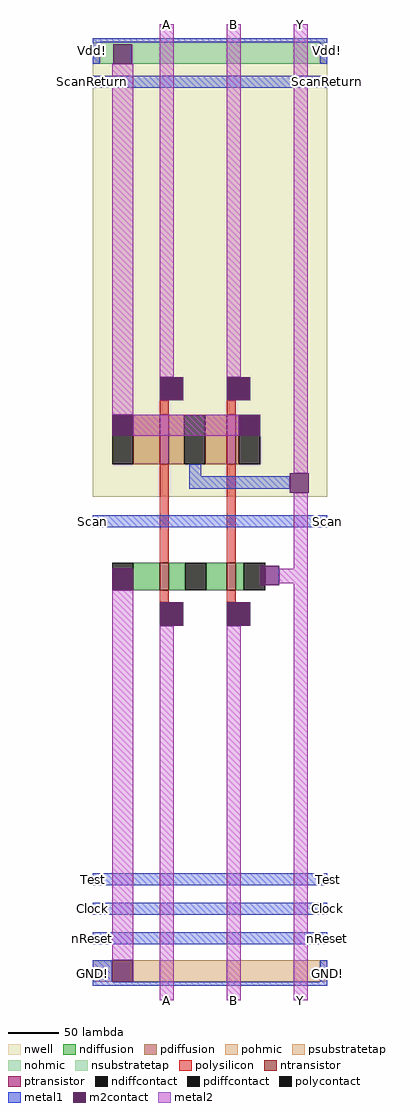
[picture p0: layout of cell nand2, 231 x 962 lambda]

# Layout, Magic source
magic
tech tsmc180
<< nwell >>
rect 0 496 231 948
<< polysilicon >>
rect 66 577 75 591
rect 132 577 141 591
rect 66 431 75 528
rect 132 431 141 528
rect 66 392 75 404
rect 132 392 141 404
<< ndiffusion >>
rect 40 404 66 431
rect 75 404 91 431
rect 112 404 132 431
rect 141 404 149 431
<< pdiffusion >>
rect 40 528 66 577
rect 75 528 90 577
rect 111 528 132 577
rect 141 528 144 577
<< pohmic >>
rect 0 18 19 39
rect 224 18 231 39
<< nohmic >>
rect 0 923 7 944
rect 224 923 231 944
<< ntransistor >>
rect 66 404 75 431
rect 132 404 141 431
<< ptransistor >>
rect 66 528 75 577
rect 132 528 141 577
<< polycontact >>
rect 66 591 89 614
rect 132 591 155 614
rect 66 369 89 392
rect 132 369 155 392
<< ndiffcontact >>
rect 19 404 40 431
rect 91 404 112 431
rect 149 404 170 431
<< pdiffcontact >>
rect 19 528 40 577
rect 90 528 111 577
rect 144 528 165 577
<< psubstratetap >>
rect 19 18 224 39
<< nsubstratetap >>
rect 7 923 224 944
<< metal1 >>
rect 0 944 231 948
rect 0 923 7 944
rect 224 923 231 944
rect 0 899 231 911
rect 95 516 107 528
rect 95 504 194 516
rect 0 466 231 478
rect 0 113 231 125
rect 0 84 231 96
rect 0 55 231 67
rect 0 18 19 39
rect 224 18 231 39
rect 0 14 231 18
<< m2contact >>
rect 20 923 39 942
rect 66 591 89 614
rect 132 591 155 614
rect 19 556 40 577
rect 144 556 165 577
rect 194 500 213 519
rect 19 404 40 425
rect 165 409 170 428
rect 170 409 184 428
rect 66 369 89 392
rect 132 369 155 392
rect 19 18 40 39
<< metal2 >>
rect 19 577 40 923
rect 66 614 80 962
rect 132 614 146 962
rect 40 556 144 577
rect 198 519 212 962
rect 198 425 212 500
rect 184 411 212 425
rect 19 39 40 404
rect 66 0 80 369
rect 132 0 146 369
rect 198 0 212 411
<< labels >>
rlabel metal1 0 14 0 39 3 GND!
rlabel metal1 231 14 231 39 7 GND!
rlabel metal1 0 923 0 948 3 Vdd!
rlabel metal1 0 899 0 911 3 ScanReturn
rlabel metal1 0 55 0 67 3 nReset
rlabel metal1 231 55 231 67 7 nReset
rlabel metal1 0 84 0 96 3 Clock
rlabel metal1 231 84 231 96 7 Clock
rlabel metal1 0 113 0 125 3 Test
rlabel metal1 231 113 231 125 7 Test
rlabel metal1 0 466 0 478 3 Scan
rlabel metal1 231 466 231 478 7 Scan
rlabel metal1 231 899 231 911 7 ScanReturn
rlabel metal1 231 923 231 948 7 Vdd!
rlabel metal2 66 962 80 962 5 A
rlabel metal2 132 962 146 962 5 B
rlabel metal2 198 962 212 962 5 Y
rlabel metal2 198 0 212 0 1 Y
rlabel metal2 132 0 146 0 1 B
rlabel metal2 66 0 80 0 1 A
<< end >>
